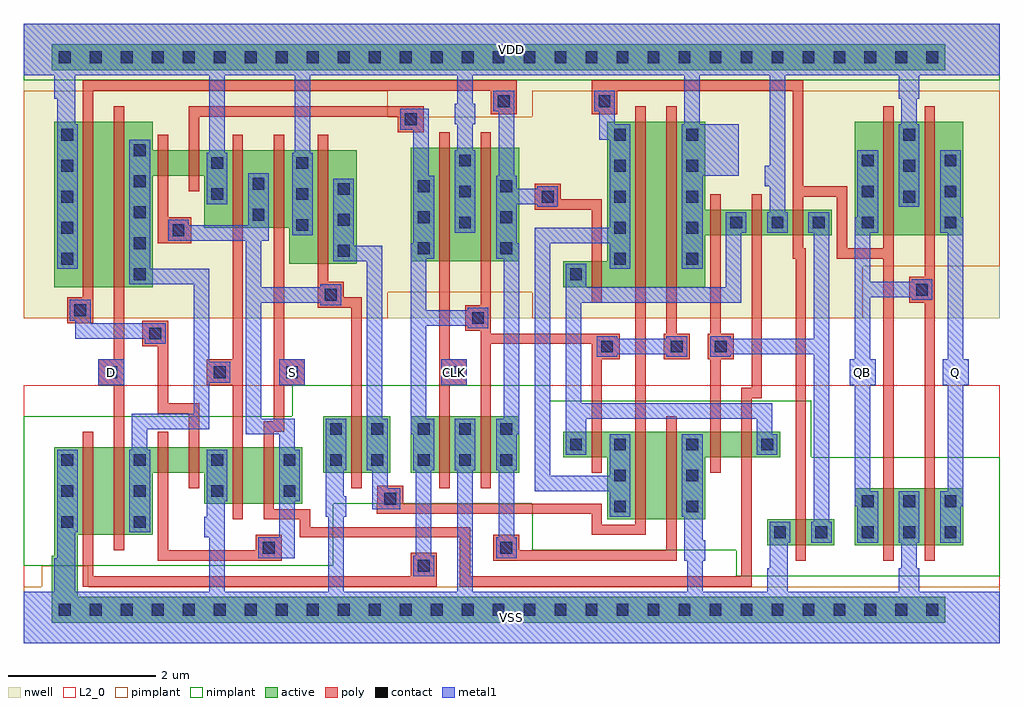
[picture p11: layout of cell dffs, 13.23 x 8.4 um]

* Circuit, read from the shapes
.subckt dffs CLK D Q QB S VDD VSS
M1 n1 n2 VSS VSS nfet w=1.19u l=0.14u
M2 n3 D n1 VSS nfet w=1.19u l=0.14u
M3 n4 n5 n3 VSS nfet w=0.35u l=0.14u
M4 VSS n6 n4 VSS nfet w=0.35u l=0.14u
M5 n7 n3 VSS VSS nfet w=0.77u l=0.14u
M6 n5 S n7 VSS nfet w=0.77u l=0.14u
M7 n8 n5 VSS VSS nfet w=0.77u l=0.14u
M8 VSS CLK n2 VSS nfet w=0.77u l=0.14u
M9 n6 n2 VSS VSS nfet w=0.77u l=0.14u
M10 n9 n2 n10 VSS nfet w=0.35u l=0.14u
M11 n11 n8 n9 VSS nfet w=1.19u l=0.14u
M12 VSS n6 n11 VSS nfet w=1.19u l=0.14u
M13 n12 n13 VSS VSS nfet w=0.35u l=0.14u
M14 n10 S n12 VSS nfet w=0.35u l=0.14u
M15 n13 n9 VSS VSS nfet w=0.35u l=0.14u
M16 VSS n9 QB VSS nfet w=0.77u l=0.14u
M17 Q QB VSS VSS nfet w=0.77u l=0.14u
M18 n14 n6 VDD VDD pfet w=2.24u l=0.14u
M19 n3 D n14 VDD pfet w=2.24u l=0.14u
M20 n15 n5 n3 VDD pfet w=0.35u l=0.14u
M21 VDD n2 n15 VDD pfet w=0.35u l=0.14u
M22 n5 n3 VDD VDD pfet w=1.05u l=0.14u
M23 VDD S n5 VDD pfet w=1.05u l=0.14u
M24 n8 n5 VDD VDD pfet w=1.54u l=0.14u
M25 VDD CLK n2 VDD pfet w=1.54u l=0.14u
M26 n6 n2 VDD VDD pfet w=1.54u l=0.14u
M27 n9 n6 n10 VDD pfet w=0.35u l=0.14u
M28 n16 n8 n9 VDD pfet w=2.24u l=0.14u
M29 VDD n2 n16 VDD pfet w=2.24u l=0.14u
M30 n10 n13 VDD VDD pfet w=0.35u l=0.14u
M31 VDD S n10 VDD pfet w=0.35u l=0.14u
M32 n13 n9 VDD VDD pfet w=0.35u l=0.14u
M33 VDD n9 QB VDD pfet w=1.54u l=0.14u
M34 Q QB VDD VDD pfet w=1.54u l=0.14u
.ends

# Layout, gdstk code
import gdstk
lib = gdstk.Library(unit=1e-6, precision=1e-09)
def R(c, l, rs):  # rectangles x0, y0, x1, y1
    for r in rs: c.add(gdstk.rectangle(r[:2], r[2:], *l))
def A(c, l, x, y, w, h, nx, ny, dx, dy):  # array of equal rectangles
    R(c, l, [(x+i*dx, y+j*dy, x+i*dx+w, y+j*dy+h) for i in range(nx) for j in range(ny)])
def P(c, l, *ps):  # polygons
    for p in ps: c.add(gdstk.Polygon(p, *l))
L2_0 = (2, 0)
nwell = (3, 0)
active = (6, 0)
poly = (17, 0)
pimplant = (25, 0)
nimplant = (26, 0)
contact = (30, 0)
metal1 = (31, 0)

adk_poly_m1 = lib.new_cell('ADK_poly_m1')
R(adk_poly_m1, poly, [(-0.175,-0.175,0.175,0.175)])
R(adk_poly_m1, contact, [(-0.08,-0.08,0.08,0.08)])
R(adk_poly_m1, metal1, [(-0.175,-0.175,0.175,0.175)])

dffs = lib.new_cell('dffs')
R(dffs, L2_0, [(0,0,13.23,3.5)])
R(dffs, nwell, [(0,4.41,13.23,8.4), (4.83,4.76,7.14,7.14), (10.85,5.11,13.23,7.49)])
P(dffs, nwell, [(9.66,4.41),(9.66,5.11),(11.375,5.11),(11.375,6.3),(9.66,6.3),(9.66,7.49),(7.49,7.49),(7.49,5.6),(6.895,5.6),(6.895,4.41)],
  [(2.17,4.41),(2.17,5.215),(3.185,5.215),(3.185,4.725),(4.935,4.725),(4.935,7.105),(2.17,7.105),(2.17,7.49),(0,7.49),(0,4.41)])
R(dffs, active, [(0.385,0.28,12.495,0.63), (0.385,0.63,0.735,1.19), (0.42,1.19,0.735,1.47), (10.08,1.33,10.465,1.68), (10.08,1.33,10.99,1.68), (10.605,1.33,10.99,1.68), (11.27,1.33,12.74,2.1), (11.27,1.33,11.655,2.1), (12.355,1.33,12.74,2.1), (0.42,1.47,0.805,2.66), (3.395,1.89,3.78,2.66), (4.06,2.31,4.445,3.08), (4.06,2.31,4.97,3.08), (4.585,2.31,4.97,3.08), (5.25,2.31,6.72,3.08), (5.25,2.31,5.635,3.08), (6.335,2.31,6.72,3.08), (7.315,2.52,7.7,2.87), (9.87,2.52,10.255,2.87), (0.42,4.83,0.805,7.07), (7.315,4.83,7.7,5.18), (4.13,5.145,4.515,6.685), (5.25,5.18,5.635,6.72), (5.25,5.18,6.72,6.72), (6.335,5.18,6.72,6.72), (10.57,5.53,10.955,5.88), (11.27,5.53,11.655,7.07), (11.27,5.53,12.74,7.07), (12.355,5.53,12.74,7.07), (0.385,7.77,12.495,8.12)])
P(dffs, active, [(9.24,1.68),(9.24,2.52),(10.255,2.52),(10.255,2.87),(7.315,2.87),(7.315,2.52),(7.91,2.52),(7.91,1.68)],
  [(9.24,4.83),(9.24,5.53),(10.955,5.53),(10.955,5.88),(9.24,5.88),(9.24,7.07),(7.91,7.07),(7.91,5.18),(7.315,5.18),(7.315,4.83)],
  [(1.75,1.47),(1.75,2.31),(2.45,2.31),(2.45,1.89),(3.78,1.89),(3.78,2.66),(0.42,2.66),(0.42,1.47)],
  [(1.75,4.83),(1.75,6.335),(2.45,6.335),(2.45,5.635),(3.605,5.635),(3.605,5.145),(4.515,5.145),(4.515,6.685),(1.75,6.685),(1.75,7.07),(0.42,7.07),(0.42,4.83)])
A(dffs, poly, 9.31, 5.32, 0.14, 0.21, 3, 2, 0.56, 0.56)
A(dffs, poly, 9.31, 5.53, 0.14, 0.35, 3, 1, 0.56, 0)
R(dffs, poly, [(5.25,0.875,5.6,1.225), (3.15,1.12,3.5,1.47), (6.37,1.12,6.72,1.47), (10.465,1.12,10.605,1.33), (11.655,1.12,11.795,1.33), (12.215,1.12,12.355,1.33), (0.805,1.26,0.945,1.47), (1.225,1.26,1.365,1.47), (10.465,1.33,10.605,1.68), (11.655,1.33,11.795,2.1), (12.215,1.33,12.355,2.1), (0.805,1.47,0.945,2.66), (1.225,1.47,1.365,2.66), (8.295,1.47,8.435,1.68), (8.715,1.47,8.855,1.68), (2.835,1.68,2.975,1.89), (3.255,1.68,3.395,1.89), (8.295,1.68,8.435,2.87), (8.715,1.68,8.855,2.87), (10.465,1.68,10.605,1.89), (4.795,1.785,5.145,2.135), (2.835,1.89,2.975,2.66), (3.255,1.89,3.395,2.66), (1.82,2.1,1.96,2.31), (2.24,2.1,2.38,2.31), (4.445,2.1,4.585,2.31), (5.635,2.1,5.775,2.31), (6.195,2.1,6.335,2.31), (11.655,2.1,11.795,2.31), (12.215,2.1,12.355,2.31), (11.655,2.275,11.795,5.355), (12.215,2.275,12.355,5.355), (1.82,2.31,1.96,2.66), (2.24,2.31,2.38,2.66), (4.445,2.31,4.585,3.08), (5.635,2.31,5.775,3.08), (6.195,2.31,6.335,3.08), (7.7,2.31,7.84,2.52), (9.31,2.31,9.45,2.52), (9.73,2.31,9.87,2.52), (7.7,2.52,7.84,2.87), (9.31,2.52,9.45,2.87), (9.73,2.52,9.87,2.87), (0.805,2.66,0.945,2.87), (1.225,2.66,1.365,2.87), (1.82,2.66,1.96,2.87), (2.24,2.66,2.38,2.87), (2.835,2.66,2.975,2.87), (3.255,2.66,3.395,2.87), (1.225,2.835,1.365,4.655), (2.835,2.835,2.975,5.46), (7.7,2.87,7.84,3.08), (8.295,2.87,8.435,3.08), (8.715,2.87,8.855,3.08), (9.31,2.87,9.45,3.08), (9.73,2.87,9.87,3.08), (7.7,3.045,7.84,4.2), (8.295,3.045,8.435,4.655), (9.31,3.045,9.45,5.355), (4.445,3.08,4.585,3.29), (5.635,3.08,5.775,3.29), (6.195,3.08,6.335,3.29), (5.635,3.255,5.775,5.005), (6.195,3.255,6.335,5.005), (2.485,3.5,2.835,3.85), (7.735,3.85,8.085,4.2), (8.68,3.85,9.03,4.2), (9.275,3.85,9.625,4.2), (1.61,4.025,1.96,4.375), (6.335,4.06,7.7,4.2), (8.715,4.2,8.855,4.655), (5.985,4.235,6.335,4.585), (0.595,4.34,0.945,4.69), (3.99,4.55,4.34,4.9), (0.805,4.62,0.945,4.83), (1.225,4.62,1.365,4.83), (7.7,4.62,7.84,4.83), (8.295,4.62,8.435,4.83), (8.715,4.62,8.855,4.83), (12.005,4.62,12.355,4.97), (0.805,4.83,0.945,7.07), (1.225,4.83,1.365,7.07), (7.7,4.83,7.84,5.18), (8.295,4.83,8.435,7.07), (8.715,4.83,8.855,7.07), (3.99,4.9,4.13,4.97), (3.99,4.935,4.13,5.145), (5.635,4.97,5.775,5.18), (6.195,4.97,6.335,5.18), (3.99,5.145,4.13,6.685), (5.635,5.18,5.775,6.72), (6.195,5.18,6.335,6.72), (7.7,5.18,7.84,5.39), (11.655,5.32,11.795,5.53), (12.215,5.32,12.355,5.53), (1.82,5.425,1.96,6.16), (1.925,5.425,2.275,5.775), (2.835,5.425,2.975,5.635), (3.395,5.425,3.535,5.635), (11.655,5.53,11.795,7.07), (12.215,5.53,12.355,7.07), (2.835,5.635,2.975,6.685), (3.395,5.635,3.535,6.685), (6.93,5.88,7.28,6.23), (1.82,6.125,1.96,6.335), (2.24,6.125,2.38,6.335), (1.82,6.335,1.96,6.685), (2.24,6.335,2.38,6.685), (1.82,6.685,1.96,6.895), (2.24,6.685,2.38,6.895), (2.835,6.685,2.975,6.895), (3.395,6.685,3.535,6.895), (3.99,6.685,4.13,6.895), (5.635,6.72,5.775,6.93), (6.195,6.72,6.335,6.93), (5.075,6.93,5.425,7.28), (0.805,7.07,0.945,7.28), (1.225,7.07,1.365,7.28), (8.295,7.07,8.435,7.28), (8.715,7.07,8.855,7.28), (11.655,7.07,11.795,7.28), (12.215,7.07,12.355,7.28), (6.335,7.175,6.685,7.525), (7.7,7.175,8.05,7.525)])
P(dffs, poly, [(4.79,1.755),(7.7,1.755),(7.7,1.47),(8.435,1.47),(8.435,1.61),(7.84,1.61),(7.84,1.895),(4.79,1.895)],
  [(6.72,1.12),(8.855,1.12),(8.855,1.505),(8.715,1.505),(8.715,1.26),(6.72,1.26)],
  [(0.805,0.77),(5.6,0.77),(5.6,0.91),(0.945,0.91),(0.945,1.295),(0.805,1.295)],
  [(3.255,1.68),(3.745,1.68),(3.745,1.435),(5.915,1.435),(5.915,0.77),(9.87,0.77),(9.87,2.345),(9.73,2.345),(9.73,0.91),(6.055,0.91),(6.055,1.575),(3.885,1.575),(3.885,1.82),(3.255,1.82)],
  [(4.34,4.55),(4.445,4.55),(4.445,3.255),(4.585,3.255),(4.585,4.69),(4.34,4.69)],
  [(3.255,2.835),(3.395,2.835),(3.395,2.87),(3.535,2.87),(3.535,5.46),(3.395,5.46),(3.395,3.01),(3.255,3.01)],
  [(9.73,3.045),(9.87,3.045),(9.87,3.325),(10.01,3.325),(10.01,5.355),(9.87,5.355),(9.87,3.465),(9.73,3.465)],
  [(10.57,6.055),(11.025,6.055),(11.025,5.215),(11.655,5.215),(11.655,5.355),(11.165,5.355),(11.165,6.195),(10.57,6.195)],
  [(7.7,7.49),(10.43,7.49),(10.43,6.055),(10.57,6.055),(10.57,7.63),(7.7,7.63)],
  [(10.43,5.215),(10.465,5.215),(10.465,1.855),(10.605,1.855),(10.605,5.355),(10.43,5.355)],
  [(1.82,3.115),(2.24,3.115),(2.24,2.835),(2.38,2.835),(2.38,3.255),(1.96,3.255),(1.96,4.025),(1.82,4.025)],
  [(1.82,1.12),(3.15,1.12),(3.15,1.26),(1.96,1.26),(1.96,2.135),(1.82,2.135)],
  [(0.805,7.245),(0.945,7.245),(0.945,7.49),(6.685,7.49),(6.685,7.63),(0.805,7.63)],
  [(7.28,5.88),(7.7,5.88),(7.7,5.355),(7.84,5.355),(7.84,6.02),(7.28,6.02)],
  [(2.24,6.86),(2.38,6.86),(2.38,7.14),(5.075,7.14),(5.075,7.28),(2.24,7.28)])
R(dffs, pimplant, [(0,0,13.23,0.77), (0.245,0.77,0.875,1.05), (0,4.41,4.935,7.49), (6.895,4.41,11.375,7.49), (4.83,4.76,7.14,7.14), (10.85,5.11,13.23,7.49), (11.095,5.39,11.13,6.02)])
R(dffs, nimplant, [(9.66,0.91,11.41,2.1), (10.85,0.91,13.23,2.52), (0,1.05,4.2,3.08), (6.895,1.26,10.675,3.29), (3.64,1.89,5.39,3.5), (4.83,1.89,7.14,3.5), (10.675,2.1,10.85,2.52), (0,7.63,13.23,8.4)])
A(dffs, contact, 0.48, 0.375, 0.16, 0.16, 29, 2, 0.42, 7.49)
A(dffs, contact, 11.365, 1.425, 0.16, 0.16, 3, 2, 0.56, 0.42)
A(dffs, contact, 0.515, 1.565, 0.16, 0.16, 1, 3, 0, 0.42)
A(dffs, contact, 1.495, 1.565, 0.16, 0.16, 1, 3, 0, 0.42)
A(dffs, contact, 8.005, 1.775, 0.16, 0.16, 1, 3, 0, 0.42)
A(dffs, contact, 8.985, 1.775, 0.16, 0.16, 1, 3, 0, 0.42)
A(dffs, contact, 5.345, 2.405, 0.16, 0.16, 3, 2, 0.56, 0.42)
A(dffs, contact, 1.495, 4.925, 0.16, 0.16, 1, 5, 0, 0.42)
A(dffs, contact, 0.515, 5.135, 0.16, 0.16, 1, 5, 0, 0.42)
A(dffs, contact, 4.26, 5.24, 0.16, 0.16, 1, 3, 0, 0.42)
A(dffs, contact, 5.345, 5.275, 0.16, 0.16, 1, 3, 0, 0.42)
A(dffs, contact, 6.465, 5.275, 0.16, 0.16, 1, 3, 0, 0.42)
A(dffs, contact, 3.7, 5.59, 0.16, 0.16, 1, 3, 0, 0.42)
A(dffs, contact, 5.905, 5.625, 0.16, 0.16, 1, 3, 0, 0.42)
A(dffs, contact, 9.58, 5.625, 0.16, 0.16, 3, 1, 0.56, 0)
A(dffs, contact, 11.365, 5.625, 0.16, 0.16, 1, 3, 0, 0.42)
A(dffs, contact, 12.485, 5.625, 0.16, 0.16, 1, 3, 0, 0.42)
A(dffs, contact, 7.025, 5.975, 0.16, 0.16, 3, 1, 0.98, 0)
A(dffs, contact, 11.925, 5.975, 0.16, 0.16, 1, 3, 0, 0.42)
R(dffs, contact, [(5.345,0.97,5.505,1.13), (3.245,1.215,3.405,1.375), (6.465,1.215,6.625,1.375), (10.175,1.425,10.335,1.585), (10.735,1.425,10.895,1.585), (4.89,1.88,5.05,2.04), (2.545,1.985,2.705,2.145), (3.525,1.985,3.685,2.145), (2.545,2.405,2.705,2.565), (3.525,2.405,3.685,2.565), (4.155,2.405,4.315,2.565), (4.715,2.405,4.875,2.565), (7.41,2.615,7.57,2.775), (10,2.615,10.16,2.775), (4.155,2.825,4.315,2.985), (4.715,2.825,4.875,2.985), (2.58,3.595,2.74,3.755), (7.83,3.945,7.99,4.105), (8.775,3.945,8.935,4.105), (9.37,3.945,9.53,4.105), (1.705,4.12,1.865,4.28), (6.08,4.33,6.24,4.49), (0.69,4.435,0.85,4.595), (4.085,4.645,4.245,4.805), (12.1,4.715,12.26,4.875), (7.41,4.925,7.57,5.085), (8.005,5.135,8.165,5.295), (8.985,5.135,9.145,5.295), (2.02,5.52,2.18,5.68), (8.005,5.555,8.165,5.715), (8.985,5.555,9.145,5.715), (3.105,5.73,3.265,5.89), (2.545,6.01,2.705,6.17), (3.105,6.15,3.265,6.31), (8.005,6.395,8.165,6.555), (8.985,6.395,9.145,6.555), (2.545,6.43,2.705,6.59), (8.005,6.815,8.165,6.975), (8.985,6.815,9.145,6.975), (5.17,7.025,5.33,7.185), (6.43,7.27,6.59,7.43), (7.795,7.27,7.955,7.43)])
A(dffs, metal1, 11.305, 1.365, 0.28, 0.7, 3, 1, 0.56, 0)
A(dffs, metal1, 5.285, 2.345, 0.28, 0.7, 3, 1, 0.56, 0)
A(dffs, metal1, 9.52, 5.565, 0.28, 0.28, 3, 1, 0.56, 0)
R(dffs, metal1, [(0,0,13.23,0.7), (0.42,0.7,0.7,1.155), (2.52,0.7,2.73,1.435), (4.13,0.7,4.34,1.715), (5.88,0.7,6.09,2.345), (8.995,0.7,9.205,1.12), (10.08,0.7,10.36,1.015), (11.865,0.7,12.145,1.015), (5.285,0.91,5.565,1.19), (10.115,1.015,10.36,1.365), (11.9,1.015,12.11,1.365), (8.96,1.12,9.24,1.4), (0.455,1.155,0.7,1.505), (3.185,1.155,3.465,1.435), (3.465,1.155,3.675,1.925), (6.405,1.155,6.685,1.435), (5.32,1.19,5.53,2.345), (10.115,1.365,10.395,1.645), (10.675,1.365,10.955,1.645), (8.96,1.4,9.205,1.715), (2.45,1.435,2.73,1.715), (6.44,1.435,6.65,2.345), (0.455,1.505,0.735,2.625), (1.435,1.505,1.715,2.625), (10.71,1.645,10.92,5.565), (2.485,1.715,2.73,1.925), (4.095,1.715,4.375,1.995), (7.945,1.715,8.225,2.835), (8.925,1.715,9.205,2.835), (4.725,1.82,4.935,2.345), (4.83,1.82,5.11,2.1), (11.27,1.855,11.48,5.775), (12.53,1.855,12.74,5.775), (2.485,1.925,2.765,2.625), (3.465,1.925,3.745,2.625), (4.095,1.995,4.34,2.345), (4.095,2.345,4.375,3.045), (4.655,2.345,4.935,3.045), (7.35,2.555,7.63,2.835), (9.94,2.555,10.22,2.835), (5.25,2.835,5.46,5.425), (6.51,2.835,6.72,5.425), (7.35,2.835,7.56,4.865), (1.015,3.5,1.365,3.85), (3.465,3.5,3.815,3.85), (5.66,3.5,6.01,3.85), (11.2,3.5,11.55,3.85), (11.2,3.5,11.55,3.85), (12.46,3.5,12.81,3.85), (12.46,3.5,12.81,3.85), (2.52,3.535,2.8,3.815), (7.77,3.885,8.05,4.165), (8.715,3.885,8.995,4.165), (9.31,3.885,9.59,4.165), (8.05,3.92,8.715,4.13), (9.59,3.92,10.71,4.13), (1.645,4.06,1.925,4.34), (6.02,4.27,6.3,4.55), (5.46,4.305,6.02,4.515), (0.63,4.375,0.91,4.655), (4.025,4.585,4.305,4.865), (3.22,4.62,4.025,4.83), (12.04,4.655,12.32,4.935), (11.48,4.69,12.04,4.9), (1.435,4.865,1.715,6.825), (7.35,4.865,7.63,5.145), (0.455,5.075,0.735,7.035), (7.945,5.075,8.225,7.035), (8.925,5.075,9.205,7.035), (4.2,5.18,4.48,6.3), (5.285,5.215,5.565,6.335), (6.405,5.215,6.685,6.335), (1.96,5.46,2.24,5.74), (2.24,5.46,3.325,5.67), (3.64,5.53,3.92,6.65), (5.845,5.565,6.125,6.685), (11.305,5.565,11.585,6.685), (12.425,5.565,12.705,6.685), (3.045,5.67,3.325,6.37), (10.115,5.845,10.325,6.195), (6.965,5.915,7.245,6.195), (11.865,5.915,12.145,7.035), (2.485,5.95,2.765,6.65), (6.685,5.95,6.965,6.16), (10.045,6.195,10.325,6.475), (5.285,6.335,5.495,7.245), (6.44,6.335,6.65,7.35), (9.205,6.335,9.695,7.035), (10.115,6.475,10.325,7.7), (2.52,6.65,2.73,7.7), (3.675,6.65,3.885,7.7), (5.88,6.685,6.09,7.035), (5.11,6.965,5.39,7.245), (0.455,7.035,0.7,7.385), (5.845,7.035,6.125,7.315), (8.96,7.035,9.17,7.7), (11.9,7.035,12.11,7.385), (6.37,7.21,6.65,7.49), (7.735,7.21,8.015,7.49), (5.88,7.315,6.09,7.7), (0.42,7.385,0.7,7.7), (11.865,7.385,12.145,7.7), (0,7.7,13.23,8.4)])
P(dffs, metal1, [(7.805,6.825),(7.945,6.825),(7.945,7.035),(8.015,7.035),(8.015,7.21),(7.805,7.21)],
  [(7.42,4.62),(9.73,4.62),(9.73,5.565),(9.52,5.565),(9.52,4.83),(7.63,4.83),(7.63,4.865),(7.42,4.865)],
  [(7.42,2.835),(7.63,2.835),(7.63,3.045),(9.94,3.045),(9.94,2.835),(10.15,2.835),(10.15,3.255),(7.42,3.255)],
  [(0.7,4.13),(1.645,4.13),(1.645,4.34),(0.91,4.34),(0.91,4.375),(0.7,4.375)],
  [(3.01,2.835),(3.465,2.835),(3.465,2.625),(3.675,2.625),(3.675,3.045),(3.22,3.045),(3.22,5.46),(3.01,5.46)],
  [(4.48,5.18),(4.655,5.18),(4.655,3.045),(4.865,3.045),(4.865,5.39),(4.48,5.39)],
  [(1.47,2.625),(1.68,2.625),(1.68,2.905),(2.52,2.905),(2.52,5.075),(1.715,5.075),(1.715,4.865),(2.31,4.865),(2.31,3.115),(1.47,3.115)],
  [(6.93,2.065),(7.945,2.065),(7.945,2.275),(7.14,2.275),(7.14,5.425),(7.945,5.425),(7.945,5.635),(6.93,5.635)])
dffs.add(gdstk.Reference(adk_poly_m1, (1.19,3.675)))
dffs.add(gdstk.Reference(adk_poly_m1, (3.64,3.675)))
dffs.add(gdstk.Reference(adk_poly_m1, (5.835,3.675)))
dffs.add(gdstk.Label('VSS', (6.615,0.35), layer=131, texttype=0))
dffs.add(gdstk.Label('D', (1.19,3.675), layer=131, texttype=0))
dffs.add(gdstk.Label('Q', (12.635,3.675), layer=131, texttype=0))
dffs.add(gdstk.Label('QB', (11.375,3.675), layer=131, texttype=0))
dffs.add(gdstk.Label('S', (3.64,3.675), layer=131, texttype=0))
dffs.add(gdstk.Label('CLK', (5.845,3.675), layer=131, texttype=0))
dffs.add(gdstk.Label('VDD', (6.615,8.05), layer=131, texttype=0))
dffs.add(gdstk.Label('VDD', (6.615,8.05), layer=131, texttype=0))

lib.write_gds('dffs.gds')
